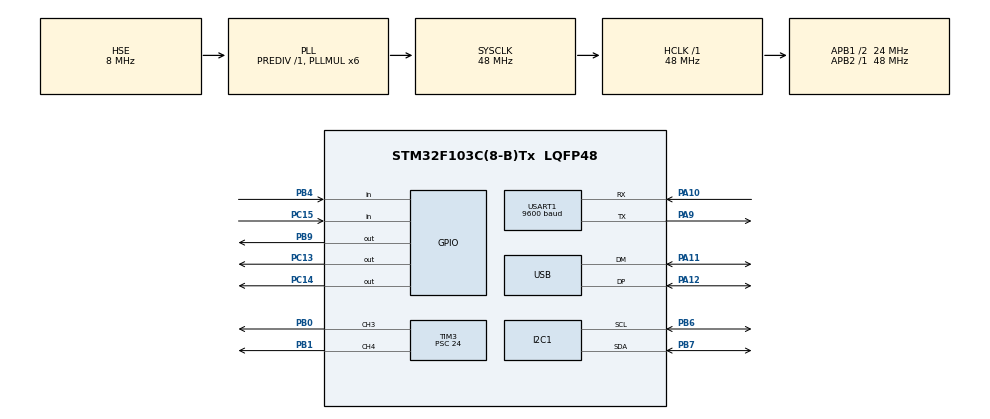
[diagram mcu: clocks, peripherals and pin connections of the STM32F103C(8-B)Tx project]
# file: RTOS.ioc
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FREERTOS.BinarySemaphores01=myBinarySem01,Dynamic,NULL
FREERTOS.CountingSemaphores01=myCountingSem01,2,Dynamic,NULL
FREERTOS.Queues01=queueResult,16,uint16_t,0,Dynamic,NULL,NULL
FREERTOS.Tasks01=defaultTask,0,128,StartDefaultTask,Default,NULL,Dynamic,NULL,NULL;taskReadMPU,-3,128,StartTask02,Default,NULL,Dynamic,NULL,NULL;taskPWM,-3,128,StartTask03,Default,NULL,Dynamic,NULL,NULL
FREERTOS.configUSE_COUNTING_SEMAPHORES=1
FREERTOS.configUSE_PREEMPTION=1
Mcu.Family=STM32F1
Mcu.Name=STM32F103C(8-B)Tx
Mcu.Package=LQFP48
NVIC.I2C1_ER_IRQn=true\:5\:0\:false\:false\:true\:true\:true\:true
NVIC.I2C1_EV_IRQn=true\:5\:0\:false\:false\:true\:true\:true\:true
NVIC.PriorityGroup=NVIC_PRIORITYGROUP_4
NVIC.TIM1_UP_IRQn=true\:0\:0\:false\:false\:true\:false\:false\:true
NVIC.TimeBase=TIM1_UP_IRQn
NVIC.TimeBaseIP=TIM1
NVIC.USART1_IRQn=true\:5\:0\:false\:false\:true\:true\:true\:true
NVIC.USB_LP_CAN1_RX0_IRQn=true\:5\:0\:false\:false\:true\:true\:false\:true
PA10.Mode=Asynchronous
PA10.Signal=USART1_RX
PA11.Mode=Device
PA11.Signal=USB_DM
PA12.Mode=Device
PA12.Signal=USB_DP
PA13.Mode=Serial_Wire
PA13.Signal=SYS_JTMS-SWDIO
PA14.Mode=Serial_Wire
PA14.Signal=SYS_JTCK-SWCLK
PA9.Mode=Asynchronous
PA9.Signal=USART1_TX
PB0.Signal=S_TIM3_CH3
PB1.Signal=S_TIM3_CH4
PB4.GPIO_PuPd=GPIO_PULLUP
PB4.Signal=GPIO_Input
PB6.Mode=I2C
PB6.Signal=I2C1_SCL
PB7.Mode=I2C
PB7.Signal=I2C1_SDA
PB9.Signal=GPIO_Output
PC13-TAMPER-RTC.Signal=GPIO_Output
PC14-OSC32_IN.Signal=GPIO_Output
PC15-OSC32_OUT.GPIO_PuPd=GPIO_PULLUP
PC15-OSC32_OUT.Signal=GPIO_Input
PD0-OSC_IN.Mode=HSE-External-Oscillator
PD0-OSC_IN.Signal=RCC_OSC_IN
PD1-OSC_OUT.Mode=HSE-External-Oscillator
PD1-OSC_OUT.Signal=RCC_OSC_OUT
ProjectManager.HeapSize=0x200
ProjectManager.StackSize=0x400
ProjectManager.TargetToolchain=MDK-ARM V5.27
RCC.AHBFreq_Value=48000000
RCC.APB1CLKDivider=RCC_HCLK_DIV2
RCC.APB1Freq_Value=24000000
RCC.APB1TimFreq_Value=48000000
RCC.APB2Freq_Value=48000000
RCC.APB2TimFreq_Value=48000000
RCC.HCLKFreq_Value=48000000
RCC.PLLMUL=RCC_PLL_MUL6
RCC.SYSCLKFreq_VALUE=48000000
RCC.SYSCLKSource=RCC_SYSCLKSOURCE_PLLCLK
RCC.USBFreq_Value=48000000
SH.S_TIM3_CH3.0=TIM3_CH3,PWM Generation3 CH3
SH.S_TIM3_CH4.0=TIM3_CH4,PWM Generation4 CH4
TIM3.Channel-PWM\ Generation3\ CH3=TIM_CHANNEL_3
TIM3.Channel-PWM\ Generation4\ CH4=TIM_CHANNEL_4
TIM3.Period=1000
TIM3.Prescaler=24
USART1.BaudRate=9600
USART1.VirtualMode=VM_ASYNC
USB_DEVICE.CLASS_NAME_FS=CDC
USB_DEVICE.VirtualMode=Cdc
USB_DEVICE.VirtualModeFS=Cdc_FS
VP_FREERTOS_VS_CMSIS_V1.Mode=CMSIS_V1
VP_SYS_VS_tim1.Mode=TIM1
VP_TIM3_VS_ClockSourceINT.Mode=Internal
VP_USB_DEVICE_VS_USB_DEVICE_CDC_FS.Mode=CDC_FS
board=custom

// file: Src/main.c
/* USER CODE BEGIN Header */
/**
  ******************************************************************************
  * @file           : main.c
  * @brief          : Main program body
  ******************************************************************************
  * @attention
  *
  * <h2><center>&copy; Copyright (c) 2020 STMicroelectronics.
  * All rights reserved.</center></h2>
  *
  * This software component is licensed by ST under BSD 3-Clause license,
  * the "License"; You may not use this file except in compliance with the
  * License. You may obtain a copy of the License at:
  *                        opensource.org/licenses/BSD-3-Clause
  *
  ******************************************************************************
  */
/* USER CODE END Header */

#include "main.h"
#include "cmsis_os.h"
#include "usb_device.h"

/* USER CODE BEGIN Includes */
#include <stdio.h>
#include "sd_hal_mpu6050.h"
#include "usbd_cdc_if.h"
/* USER CODE END Includes */

/* USER CODE BEGIN PD */
#define BIT_0	( 1 << 0 )
#define BIT_4	( 1 << 4 )

#define NOTI		 						(uint8_t *)"ChuoiDungDef\n", 13
#define NOTI_taskDefault		(uint8_t *)"TaskDefault\n", 12
#define NOTI_taskPWM				(uint8_t *)"TaskPWM\n", 8
#define NOTI_taskReadMPU		(uint8_t *)"TaskReadMPU\n", 12
/* USER CODE END PD */

I2C_HandleTypeDef hi2c1;

TIM_HandleTypeDef htim3;

UART_HandleTypeDef huart1;

osThreadId defaultTaskHandle;
osThreadId taskReadMPUHandle;
osThreadId taskPWMHandle;
osMessageQId queueResultHandle;
osSemaphoreId myBinarySem01Handle;
osSemaphoreId myCountingSem01Handle;
/* USER CODE BEGIN PV */
EventGroupHandle_t commonEventGroup;

SD_MPU6050 mpu1;
SD_MPU6050_Result result ;
extern char ReceivedData[100];
extern uint8_t Rxcount;
extern uint32_t dataSize;
extern uint8_t check;
extern uint32_t time;
/* USER CODE END PV */

void SystemClock_Config(void);
static void MX_GPIO_Init(void);
static void MX_I2C1_Init(void);
static void MX_TIM3_Init(void);
static void MX_USART1_UART_Init(void);
void StartDefaultTask(void const * argument);
void StartTask02(void const * argument);
void StartTask03(void const * argument);

int main(void)
{

  /* MCU Configuration--------------------------------------------------------*/

  /* Reset of all peripherals, Initializes the Flash interface and the Systick. */
  HAL_Init();

  /* Configure the system clock */
  SystemClock_Config();

  /* Initialize all configured peripherals */
  MX_GPIO_Init();
  MX_I2C1_Init();
  MX_TIM3_Init();
  MX_USART1_UART_Init();
  /* USER CODE BEGIN 2 */
	HAL_UART_Transmit(&huart1, (uint8_t*)"Hello", 6,10);
	HAL_TIM_PWM_Start(&htim3,TIM_CHANNEL_3);
	HAL_TIM_PWM_Start(&htim3,TIM_CHANNEL_4);
  /* USER CODE END 2 */

  /* Create the semaphores(s) */
  /* definition and creation of myBinarySem01 */
  osSemaphoreDef(myBinarySem01);
  myBinarySem01Handle = osSemaphoreCreate(osSemaphore(myBinarySem01), 1);

  /* definition and creation of myCountingSem01 */
  osSemaphoreDef(myCountingSem01);
  myCountingSem01Handle = osSemaphoreCreate(osSemaphore(myCountingSem01), 2);

  /* Create the queue(s) */
  /* definition and creation of queueResult */
  osMessageQDef(queueResult, 16, uint16_t);
  queueResultHandle = osMessageCreate(osMessageQ(queueResult), NULL);

  /* USER CODE BEGIN RTOS_QUEUES */
  /* add queues, ... */
	commonEventGroup = xEventGroupCreate();

  /* USER CODE END RTOS_QUEUES */

  /* Create the thread(s) */
  /* definition and creation of defaultTask */
  osThreadDef(defaultTask, StartDefaultTask, osPriorityNormal, 0, 128);
  defaultTaskHandle = osThreadCreate(osThread(defaultTask), NULL);

  /* definition and creation of taskReadMPU */
  osThreadDef(taskReadMPU, StartTask02, osPriorityIdle, 0, 128);
  taskReadMPUHandle = osThreadCreate(osThread(taskReadMPU), NULL);

  /* definition and creation of taskPWM */
  osThreadDef(taskPWM, StartTask03, osPriorityIdle, 0, 128);
  taskPWMHandle = osThreadCreate(osThread(taskPWM), NULL);

  /* Start scheduler */
  osKernelStart();

  /* We should never get here as control is now taken by the scheduler */

  /* Infinite loop */
  while (1)
  {

  }
}

void SystemClock_Config(void)
{
  RCC_OscInitTypeDef RCC_OscInitStruct = {0};
  RCC_ClkInitTypeDef RCC_ClkInitStruct = {0};
  RCC_PeriphCLKInitTypeDef PeriphClkInit = {0};

  /** Initializes the CPU, AHB and APB busses clocks
  */
  RCC_OscInitStruct.OscillatorType = RCC_OSCILLATORTYPE_HSE;
  RCC_OscInitStruct.HSEState = RCC_HSE_ON;
  RCC_OscInitStruct.HSEPredivValue = RCC_HSE_PREDIV_DIV1;
  RCC_OscInitStruct.HSIState = RCC_HSI_ON;
  RCC_OscInitStruct.PLL.PLLState = RCC_PLL_ON;
  RCC_OscInitStruct.PLL.PLLSource = RCC_PLLSOURCE_HSE;
  RCC_OscInitStruct.PLL.PLLMUL = RCC_PLL_MUL6;
  if (HAL_RCC_OscConfig(&RCC_OscInitStruct) != HAL_OK)
  {
    Error_Handler();
  }
  /** Initializes the CPU, AHB and APB busses clocks
  */
  RCC_ClkInitStruct.ClockType = RCC_CLOCKTYPE_HCLK|RCC_CLOCKTYPE_SYSCLK
                              |RCC_CLOCKTYPE_PCLK1|RCC_CLOCKTYPE_PCLK2;
  RCC_ClkInitStruct.SYSCLKSource = RCC_SYSCLKSOURCE_PLLCLK;
  RCC_ClkInitStruct.AHBCLKDivider = RCC_SYSCLK_DIV1;
  RCC_ClkInitStruct.APB1CLKDivider = RCC_HCLK_DIV2;
  RCC_ClkInitStruct.APB2CLKDivider = RCC_HCLK_DIV1;

  if (HAL_RCC_ClockConfig(&RCC_ClkInitStruct, FLASH_LATENCY_1) != HAL_OK)
  {
    Error_Handler();
  }
  PeriphClkInit.PeriphClockSelection = RCC_PERIPHCLK_USB;
  PeriphClkInit.UsbClockSelection = RCC_USBCLKSOURCE_PLL;
  if (HAL_RCCEx_PeriphCLKConfig(&PeriphClkInit) != HAL_OK)
  {
    Error_Handler();
  }
}

static void MX_I2C1_Init(void)
{

  hi2c1.Instance = I2C1;
  hi2c1.Init.ClockSpeed = 100000;
  hi2c1.Init.DutyCycle = I2C_DUTYCYCLE_2;
  hi2c1.Init.OwnAddress1 = 0;
  hi2c1.Init.AddressingMode = I2C_ADDRESSINGMODE_7BIT;
  hi2c1.Init.DualAddressMode = I2C_DUALADDRESS_DISABLE;
  hi2c1.Init.OwnAddress2 = 0;
  hi2c1.Init.GeneralCallMode = I2C_GENERALCALL_DISABLE;
  hi2c1.Init.NoStretchMode = I2C_NOSTRETCH_DISABLE;
  if (HAL_I2C_Init(&hi2c1) != HAL_OK)
  {
    Error_Handler();
  }

}

static void MX_TIM3_Init(void)
{

  TIM_ClockConfigTypeDef sClockSourceConfig = {0};
  TIM_MasterConfigTypeDef sMasterConfig = {0};
  TIM_OC_InitTypeDef sConfigOC = {0};

  htim3.Instance = TIM3;
  htim3.Init.Prescaler = 24;
  htim3.Init.CounterMode = TIM_COUNTERMODE_UP;
  htim3.Init.Period = 1000;
  htim3.Init.ClockDivision = TIM_CLOCKDIVISION_DIV1;
  htim3.Init.AutoReloadPreload = TIM_AUTORELOAD_PRELOAD_DISABLE;
  if (HAL_TIM_Base_Init(&htim3) != HAL_OK)
  {
    Error_Handler();
  }
  sClockSourceConfig.ClockSource = TIM_CLOCKSOURCE_INTERNAL;
  if (HAL_TIM_ConfigClockSource(&htim3, &sClockSourceConfig) != HAL_OK)
  {
    Error_Handler();
  }
  if (HAL_TIM_PWM_Init(&htim3) != HAL_OK)
  {
    Error_Handler();
  }
  sMasterConfig.MasterOutputTrigger = TIM_TRGO_RESET;
  sMasterConfig.MasterSlaveMode = TIM_MASTERSLAVEMODE_DISABLE;
  if (HAL_TIMEx_MasterConfigSynchronization(&htim3, &sMasterConfig) != HAL_OK)
  {
    Error_Handler();
  }
  sConfigOC.OCMode = TIM_OCMODE_PWM1;
  sConfigOC.Pulse = 0;
  sConfigOC.OCPolarity = TIM_OCPOLARITY_HIGH;
  sConfigOC.OCFastMode = TIM_OCFAST_DISABLE;
  if (HAL_TIM_PWM_ConfigChannel(&htim3, &sConfigOC, TIM_CHANNEL_3) != HAL_OK)
  {
    Error_Handler();
  }
  if (HAL_TIM_PWM_ConfigChannel(&htim3, &sConfigOC, TIM_CHANNEL_4) != HAL_OK)
  {
    Error_Handler();
  }
  HAL_TIM_MspPostInit(&htim3);

}

static void MX_USART1_UART_Init(void)
{

  huart1.Instance = USART1;
  huart1.Init.BaudRate = 9600;
  huart1.Init.WordLength = UART_WORDLENGTH_8B;
  huart1.Init.StopBits = UART_STOPBITS_1;
  huart1.Init.Parity = UART_PARITY_NONE;
  huart1.Init.Mode = UART_MODE_TX_RX;
  huart1.Init.HwFlowCtl = UART_HWCONTROL_NONE;
  huart1.Init.OverSampling = UART_OVERSAMPLING_16;
  if (HAL_UART_Init(&huart1) != HAL_OK)
  {
    Error_Handler();
  }

}

static void MX_GPIO_Init(void)
{
  GPIO_InitTypeDef GPIO_InitStruct = {0};

  /* GPIO Ports Clock Enable */
  __HAL_RCC_GPIOC_CLK_ENABLE();
  __HAL_RCC_GPIOD_CLK_ENABLE();
  __HAL_RCC_GPIOA_CLK_ENABLE();
  __HAL_RCC_GPIOB_CLK_ENABLE();

  /*Configure GPIO pin Output Level */
  HAL_GPIO_WritePin(GPIOC, GPIO_PIN_13|GPIO_PIN_14, GPIO_PIN_RESET);

  /*Configure GPIO pin Output Level */
  HAL_GPIO_WritePin(GPIOB, GPIO_PIN_9, GPIO_PIN_RESET);

  /*Configure GPIO pins : PC13 PC14 */
  GPIO_InitStruct.Pin = GPIO_PIN_13|GPIO_PIN_14;
  GPIO_InitStruct.Mode = GPIO_MODE_OUTPUT_PP;
  GPIO_InitStruct.Pull = GPIO_NOPULL;
  GPIO_InitStruct.Speed = GPIO_SPEED_FREQ_LOW;
  HAL_GPIO_Init(GPIOC, &GPIO_InitStruct);

  /*Configure GPIO pin : PC15 */
  GPIO_InitStruct.Pin = GPIO_PIN_15;
  GPIO_InitStruct.Mode = GPIO_MODE_INPUT;
  GPIO_InitStruct.Pull = GPIO_PULLUP;
  HAL_GPIO_Init(GPIOC, &GPIO_InitStruct);

  /*Configure GPIO pins : PA0 PA1 PA2 PA3
                           PA4 PA5 PA6 PA7
                           PA8 PA15 */
  GPIO_InitStruct.Pin = GPIO_PIN_0|GPIO_PIN_1|GPIO_PIN_2|GPIO_PIN_3
                          |GPIO_PIN_4|GPIO_PIN_5|GPIO_PIN_6|GPIO_PIN_7
                          |GPIO_PIN_8|GPIO_PIN_15;
  GPIO_InitStruct.Mode = GPIO_MODE_ANALOG;
  HAL_GPIO_Init(GPIOA, &GPIO_InitStruct);

  /*Configure GPIO pins : PB2 PB10 PB11 PB12
                           PB13 PB14 PB15 PB3
                           PB5 PB8 */
  GPIO_InitStruct.Pin = GPIO_PIN_2|GPIO_PIN_10|GPIO_PIN_11|GPIO_PIN_12
                          |GPIO_PIN_13|GPIO_PIN_14|GPIO_PIN_15|GPIO_PIN_3
                          |GPIO_PIN_5|GPIO_PIN_8;
  GPIO_InitStruct.Mode = GPIO_MODE_ANALOG;
  HAL_GPIO_Init(GPIOB, &GPIO_InitStruct);

  /*Configure GPIO pin : PB4 */
  GPIO_InitStruct.Pin = GPIO_PIN_4;
  GPIO_InitStruct.Mode = GPIO_MODE_INPUT;
  GPIO_InitStruct.Pull = GPIO_PULLUP;
  HAL_GPIO_Init(GPIOB, &GPIO_InitStruct);

  /*Configure GPIO pin : PB9 */
  GPIO_InitStruct.Pin = GPIO_PIN_9;
  GPIO_InitStruct.Mode = GPIO_MODE_OUTPUT_PP;
  GPIO_InitStruct.Pull = GPIO_NOPULL;
  GPIO_InitStruct.Speed = GPIO_SPEED_FREQ_LOW;
  HAL_GPIO_Init(GPIOB, &GPIO_InitStruct);

}

void StartDefaultTask(void const * argument)
{
  /* init code for USB_DEVICE */
  MX_USB_DEVICE_Init();
	MPU6050_I2C_CLOCK();
  /* USER CODE BEGIN 5 */
	CDC_Transmit_FS(NOTI_taskDefault);
	    if( commonEventGroup == NULL )
    {
        HAL_GPIO_WritePin(GPIOC,GPIO_PIN_14,0);
    }else
		{
				HAL_GPIO_WritePin(GPIOC,GPIO_PIN_14,1);
		}
			/* Infinite loop */
  for(;;)
  {
		if(check == 1) //neu co du lieu den thi truyen di du lieu vua nhan duoc
		{
			CDC_Transmit_FS((uint8_t *)ReceivedData, strlen(ReceivedData));
			for(int i = 0; i < dataSize; i++)
			{
				ReceivedData[i] = 0;
			}
			check = 0;
		}
    osDelay(30);
  }
  /* USER CODE END 5 */
}

void StartTask02(void const * argument)
{
  /* USER CODE BEGIN StartTask02 */
	CDC_Transmit_FS(NOTI_taskReadMPU);

  /* Infinite loop */
	result = SD_MPU6050_Init(&hi2c1,&mpu1,SD_MPU6050_Device_0,SD_MPU6050_Accelerometer_2G,SD_MPU6050_Gyroscope_250s );
	HAL_Delay(500);
  for(;;)
  {
	  if(result == SD_MPU6050_Result_Ok)
	  {
			HAL_UART_Transmit(&huart1, (uint8_t*)"OK\n", 3,10);
		}
	  else
	  {
		  //
	  }
		SD_MPU6050_ReadTemperature(&hi2c1,&mpu1);
	  float temper = mpu1.Temperature;

	  SD_MPU6050_ReadGyroscope(&hi2c1,&mpu1);
	  int16_t g_x = mpu1.Gyroscope_X;
	  int16_t g_y = mpu1.Gyroscope_Y;
	  int16_t g_z = mpu1.Gyroscope_Z;

	  SD_MPU6050_ReadAccelerometer(&hi2c1,&mpu1);
	  int16_t a_x = mpu1.Accelerometer_X;
	  int16_t a_y = mpu1.Accelerometer_Y;
	  int16_t a_z = mpu1.Accelerometer_Z;
				if(a_x > 0)
			{
				HAL_GPIO_WritePin(GPIOC,GPIO_PIN_14,1);
				HAL_GPIO_WritePin(GPIOB,GPIO_PIN_9,0);
			}
			else if (a_x < 0)
			{
				HAL_GPIO_WritePin(GPIOC,GPIO_PIN_14,0);
				HAL_GPIO_WritePin(GPIOB,GPIO_PIN_9,1);
			}else
			{
				HAL_GPIO_WritePin(GPIOC,GPIO_PIN_14,1);
				HAL_GPIO_WritePin(GPIOB,GPIO_PIN_9,1);
			}
		osDelay(2);
  }

  /* USER CODE END StartTask02 */
}

void StartTask03(void const * argument)
{
  /* USER CODE BEGIN StartTask03 */

  /* Infinite loop */
  for(;;)
  {;
		//CDC_Transmit_FS((uint8_t *)message_event.value.v,1);
		for(int pwm = 0;pwm<1000;pwm++)
		{
			__HAL_TIM_SET_COMPARE(&htim3, TIM_CHANNEL_3,pwm);
			__HAL_TIM_SET_COMPARE(&htim3, TIM_CHANNEL_4,1000-pwm);
			osDelay(20);
		}
    osDelay(2);
  }
  /* USER CODE END StartTask03 */
}

void HAL_TIM_PeriodElapsedCallback(TIM_HandleTypeDef *htim)
{
  if (htim->Instance == TIM1) {
    HAL_IncTick();
  }
}

void Error_Handler(void)
{
}

/************************ (C) COPYRIGHT STMicroelectronics *****END OF FILE****/
